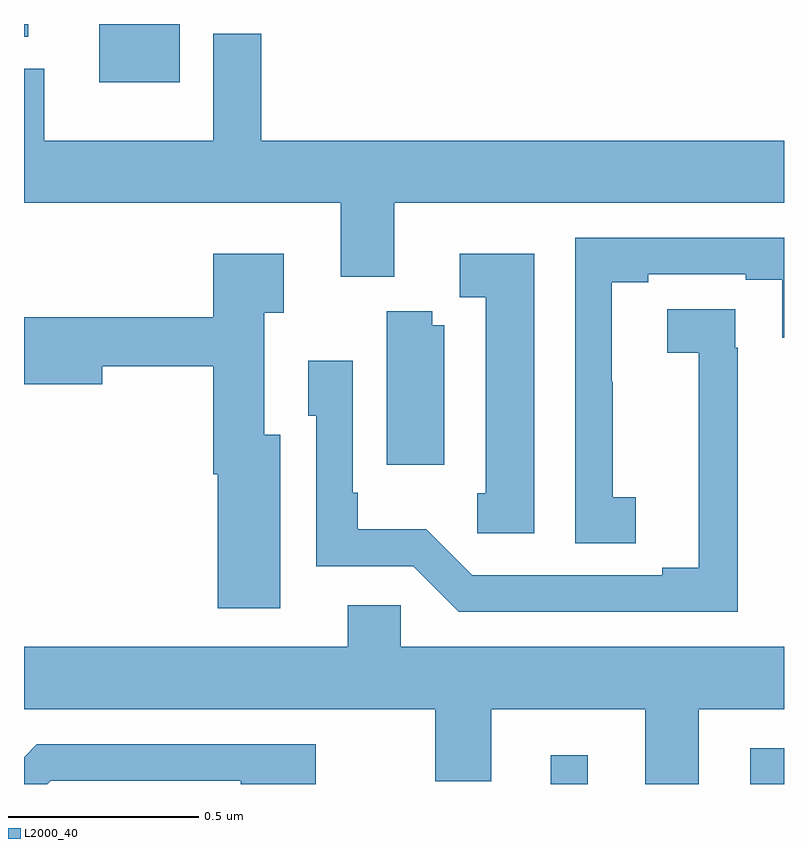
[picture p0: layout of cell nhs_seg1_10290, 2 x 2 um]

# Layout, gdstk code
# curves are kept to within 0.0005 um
import gdstk
lib = gdstk.Library(unit=1e-6, precision=1e-09)
def R(c, l, rs):  # rectangles x0, y0, x1, y1
    for r in rs: c.add(gdstk.rectangle(r[:2], r[2:], *l))
def P(c, l, *ps):  # polygons
    for p in ps: c.add(gdstk.Polygon(p, *l))
L2000_40 = (2000, 40)

nhs_seg1_10290 = lib.new_cell('nhs_seg1_10290')
R(nhs_seg1_10290, L2000_40, [(240.386,554.199,240.484,554.275), (240.911,554.199,241,554.293), (239.198,556.046,239.41,556.199), (239,556.166,239.011,556.199)])
P(nhs_seg1_10290, L2000_40, [(239.974,555.728),(241,555.728),(241,555.892),(239.624,555.892),(239.624,556.174),(239.498,556.174),(239.498,555.892),(239.053,555.892),(239.053,556.081),(239,556.081),(239,555.728),(239.834,555.728),(239.834,555.534),(239.974,555.534)],
  [(240.61,554.953),(240.549,554.953),(240.549,555.257),(240.547,555.257),(240.547,555.52),(240.643,555.52),(240.643,555.54),(240.899,555.54),(240.899,555.526),(240.996,555.526),(240.996,555.373),(241,555.373),(241,555.636),(240.45,555.636),(240.45,554.833),(240.61,554.833)],
  [(240.343,555.595),(240.147,555.595),(240.147,555.48),(240.215,555.48),(240.215,554.964),(240.193,554.964),(240.193,554.859),(240.343,554.859)],
  [(239.674,555.118),(239.632,555.118),(239.632,555.439),(239.683,555.439),(239.683,555.595),(239.498,555.595),(239.498,555.427),(239,555.427),(239,555.251),(239.206,555.251),(239.206,555.298),(239.498,555.298),(239.498,555.014),(239.51,555.014),(239.51,554.661),(239.674,554.661)],
  [(240.878,555.347),(240.872,555.347),(240.872,555.449),(240.693,555.449),(240.693,555.334),(240.775,555.334),(240.776,554.768),(240.68,554.768),(240.68,554.748),(240.18,554.748),(240.059,554.869),(239.878,554.869),(239.878,554.965),(239.865,554.965),(239.865,555.313),(239.748,555.313),(239.748,555.168),(239.769,555.168),(239.769,554.772),(240.024,554.772),(240.144,554.652),(240.878,554.652)],
  [(240.106,555.406),(240.074,555.406),(240.074,555.443),(239.954,555.443),(239.954,555.039),(240.106,555.039)],
  [(240.775,554.396),(241,554.396),(241,554.56),(239.991,554.56),(239.991,554.67),(239.852,554.67),(239.852,554.56),(239,554.56),(239,554.396),(240.082,554.396),(240.082,554.206),(240.229,554.206),(240.229,554.396),(240.635,554.396),(240.635,554.199),(240.775,554.199)],
  [(239.07,554.208),(239.57,554.208),(239.57,554.199),(239.768,554.199),(239.768,554.304),(239.034,554.304),(239,554.27),(239,554.199),(239.061,554.199)])

lib.write_gds('nhs_seg1_10290.gds')
